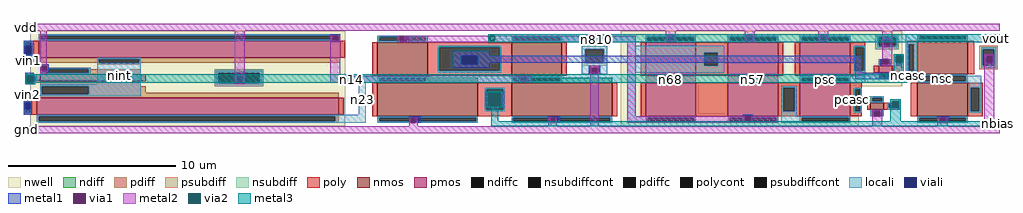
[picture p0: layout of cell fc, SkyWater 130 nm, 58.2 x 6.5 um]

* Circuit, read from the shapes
.subckt fc vin1 vin2 pbias vdd gnd nbias vout
XM1 n23 nbias gnd gnd sky130_fd_pr__nfet_01v8 w=6 l=2
XM2 vout ncasc n23 gnd sky130_fd_pr__nfet_01v8 w=3 l=2
XM3 n14 nbias gnd gnd sky130_fd_pr__nfet_01v8 w=6 l=2
XM4 n810 ncasc n14 gnd sky130_fd_pr__nfet_01v8 w=3 l=2
XM5 pcasc nbias gnd gnd sky130_fd_pr__nfet_01v8 w=0.8 l=0.4
XM6 nsc nsc gnd gnd sky130_fd_pr__nfet_01v8 w=3 l=2
XM7 ncasc ncasc nsc gnd sky130_fd_pr__nfet_01v8 w=3 l=2
XM8 nint vin2 n23 vdd sky130_fd_pr__pfet_01v8 w=18 l=1
XM9 n14 vin1 nint vdd sky130_fd_pr__pfet_01v8 w=18 l=1
XM10 vdd pbias nint vdd sky130_fd_pr__pfet_01v8 w=6 l=0.4
XM11 n68 pcasc n810 vdd sky130_fd_pr__pfet_01v8 w=3 l=2
XM12 vdd n810 n68 vdd sky130_fd_pr__pfet_01v8 w=3 l=2
XM13 n57 pcasc vout vdd sky130_fd_pr__pfet_01v8 w=3 l=2
XM14 vdd n810 n57 vdd sky130_fd_pr__pfet_01v8 w=3 l=2
XM15 psc pcasc pcasc vdd sky130_fd_pr__pfet_01v8 w=3 l=2
XM16 vdd psc psc vdd sky130_fd_pr__pfet_01v8 w=3 l=2
XM17 vdd pbias ncasc vdd sky130_fd_pr__pfet_01v8 w=0.8 l=0.4
.ends

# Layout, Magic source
magic
tech sky130A
<< nwell >>
rect 0 40 1880 610
rect 3520 280 5200 610
rect 3520 40 4940 280
<< nmos >>
rect 2070 340 2370 540
rect 2870 340 3170 540
rect 5290 350 5590 550
rect 2070 100 2670 300
rect 2870 100 3470 300
rect 5010 140 5090 180
rect 5290 100 5590 300
<< pmos >>
rect 50 450 1850 550
rect 60 310 660 350
rect 3670 340 3970 540
rect 4160 340 4460 540
rect 4590 340 4890 540
rect 5060 360 5140 400
rect 40 110 1840 210
rect 3670 100 3970 300
rect 4160 100 4460 300
rect 4590 100 4890 300
<< ndiff >>
rect 2070 570 2370 580
rect 2070 550 2080 570
rect 2360 550 2370 570
rect 2070 540 2370 550
rect 2870 570 3170 580
rect 2870 550 2880 570
rect 3160 550 3170 570
rect 2870 540 3170 550
rect 5290 580 5590 590
rect 5290 560 5300 580
rect 5580 560 5590 580
rect 5290 550 5590 560
rect 2070 330 2370 340
rect 2870 330 3170 340
rect 2070 310 2080 330
rect 2360 310 2670 330
rect 2070 300 2670 310
rect 2870 310 2880 330
rect 3160 310 3470 330
rect 2870 300 3470 310
rect 5290 340 5590 350
rect 5290 310 5300 340
rect 5580 310 5590 340
rect 5290 300 5590 310
rect 5010 210 5090 220
rect 5010 190 5020 210
rect 5080 190 5090 210
rect 5010 180 5090 190
rect 5010 130 5090 140
rect 5010 110 5020 130
rect 5080 110 5090 130
rect 5010 100 5090 110
rect 2070 90 2670 100
rect 2070 70 2080 90
rect 2660 70 2670 90
rect 2070 60 2670 70
rect 2870 90 3470 100
rect 2870 70 2880 90
rect 3460 70 3470 90
rect 2870 60 3470 70
rect 5290 90 5590 100
rect 5290 70 5300 90
rect 5580 70 5590 90
rect 5290 60 5590 70
<< pdiff >>
rect 50 580 1850 590
rect 50 560 60 580
rect 1840 560 1850 580
rect 50 550 1850 560
rect 3670 570 3970 580
rect 3670 550 3680 570
rect 3960 550 3970 570
rect 3670 540 3970 550
rect 4160 570 4460 580
rect 4160 550 4170 570
rect 4450 550 4460 570
rect 4160 540 4460 550
rect 4590 570 4890 580
rect 4590 550 4600 570
rect 4880 550 4890 570
rect 4590 540 4890 550
rect 50 440 1850 450
rect 50 420 410 440
rect 650 420 1850 440
rect 400 410 660 420
rect 60 380 360 390
rect 60 360 70 380
rect 350 360 660 380
rect 60 350 660 360
rect 60 280 660 310
rect 5060 430 5140 440
rect 5060 410 5070 430
rect 5130 410 5140 430
rect 5060 400 5140 410
rect 5060 350 5140 360
rect 3670 300 3970 340
rect 4160 300 4460 340
rect 4590 330 4890 340
rect 4590 310 4600 330
rect 4880 310 4890 330
rect 5060 330 5070 350
rect 5130 330 5140 350
rect 5060 320 5140 330
rect 4590 300 4890 310
rect 60 240 70 280
rect 40 230 70 240
rect 350 240 690 280
rect 350 230 1840 240
rect 40 210 1840 230
rect 40 100 1840 110
rect 40 70 50 100
rect 1820 70 1840 100
rect 40 60 1840 70
rect 3670 90 3970 100
rect 3670 70 3680 90
rect 3960 70 3970 90
rect 3670 60 3970 70
rect 4160 90 4460 100
rect 4160 70 4170 90
rect 4450 70 4460 90
rect 4160 60 4460 70
rect 4590 90 4890 100
rect 4590 70 4600 90
rect 4880 70 4890 90
rect 4590 60 4890 70
<< ndiffc >>
rect 2080 550 2360 570
rect 2880 550 3160 570
rect 5300 560 5580 580
rect 2080 310 2360 330
rect 2880 310 3160 330
rect 5300 310 5580 340
rect 5020 190 5080 210
rect 5020 110 5080 130
rect 2080 70 2660 90
rect 2880 70 3460 90
rect 5300 70 5580 90
<< pdiffc >>
rect 60 560 1840 580
rect 3680 550 3960 570
rect 4170 550 4450 570
rect 4600 550 4880 570
rect 410 420 650 440
rect 70 360 350 380
rect 5070 410 5130 430
rect 4600 310 4880 330
rect 5070 330 5130 350
rect 70 230 350 280
rect 50 70 1820 100
rect 3680 70 3960 90
rect 4170 70 4450 90
rect 4600 70 4880 90
<< psubdiff >>
rect 3290 500 3440 520
rect 3290 420 3310 500
rect 3420 420 3440 500
rect 3290 400 3440 420
rect 5660 500 5770 520
rect 5660 400 5680 500
rect 5750 400 5770 500
rect 5660 380 5770 400
<< nsubdiff >>
rect 5040 570 5180 590
rect 1100 360 1390 380
rect 1100 300 1120 360
rect 1370 300 1390 360
rect 5040 520 5060 570
rect 5160 520 5180 570
rect 5040 500 5180 520
rect 1100 280 1390 300
<< psubdiffcont >>
rect 3310 420 3420 500
rect 5680 400 5750 500
<< nsubdiffcont >>
rect 1120 300 1370 360
rect 5060 520 5160 570
<< poly >>
rect -40 540 50 550
rect -40 460 -30 540
rect 10 460 50 540
rect -40 450 50 460
rect 1850 450 1880 550
rect -30 340 60 350
rect -30 320 -20 340
rect 30 320 60 340
rect -30 310 60 320
rect 660 310 690 350
rect 2040 340 2070 540
rect 2370 510 2870 540
rect 2370 370 2440 510
rect 2800 370 2870 510
rect 2370 340 2870 370
rect 3170 340 3200 540
rect 3640 340 3670 540
rect 3970 480 4160 540
rect 3970 400 4020 480
rect 4100 400 4160 480
rect 3970 340 4160 400
rect 4460 340 4490 540
rect 4560 340 4590 540
rect 4890 510 4980 540
rect 4890 370 4920 510
rect 4970 370 4980 510
rect 5230 530 5290 550
rect 5160 460 5200 470
rect 5160 410 5170 460
rect 5190 410 5200 460
rect 5160 400 5200 410
rect 4890 340 4980 370
rect 5030 360 5060 400
rect 5140 360 5200 400
rect 5230 370 5240 530
rect 5270 370 5290 530
rect 5230 350 5290 370
rect 5590 350 5630 550
rect -40 200 40 210
rect -40 120 -30 200
rect 0 120 40 200
rect -40 110 40 120
rect 1840 110 1870 210
rect 2040 100 2070 300
rect 2670 260 2870 300
rect 2670 140 2720 260
rect 2820 140 2870 260
rect 2670 100 2870 140
rect 3470 100 3500 300
rect 3640 100 3670 300
rect 3970 100 4160 300
rect 4460 270 4590 300
rect 4460 130 4490 270
rect 4560 130 4590 270
rect 4460 100 4590 130
rect 4890 260 4960 300
rect 4890 130 4920 260
rect 4950 130 4960 260
rect 4990 140 5010 180
rect 5090 170 5190 180
rect 5090 150 5120 170
rect 5180 150 5190 170
rect 5090 140 5190 150
rect 4890 100 4960 130
rect 5250 100 5290 300
rect 5590 270 5680 300
rect 5590 130 5610 270
rect 5660 130 5680 270
rect 5590 100 5680 130
<< polycont >>
rect -30 460 10 540
rect -20 320 30 340
rect 2440 370 2800 510
rect 4020 400 4100 480
rect 4920 370 4970 510
rect 5170 410 5190 460
rect 5240 370 5270 530
rect -30 120 0 200
rect 2720 140 2820 260
rect 4490 130 4560 270
rect 4920 130 4950 260
rect 5120 150 5180 170
rect 5610 130 5660 270
<< locali >>
rect 50 580 1850 590
rect 5220 580 5590 590
rect 50 560 60 580
rect 1840 560 1850 580
rect 50 550 1850 560
rect 2070 570 2370 580
rect 2070 550 2080 570
rect 2360 550 2370 570
rect -40 540 20 550
rect 2070 540 2370 550
rect 2870 570 3610 580
rect 2870 550 2880 570
rect 3160 550 3610 570
rect 2870 540 3610 550
rect 3670 570 3970 580
rect 3670 550 3680 570
rect 3960 550 3970 570
rect 3670 540 3970 550
rect 4160 570 4460 580
rect 4160 550 4170 570
rect 4450 550 4460 570
rect 4160 540 4460 550
rect 4590 570 4890 580
rect 4590 550 4600 570
rect 4880 550 4890 570
rect 4590 540 4890 550
rect 5050 570 5170 580
rect -40 460 -30 540
rect 10 460 20 540
rect 3560 520 3610 540
rect 5050 520 5060 570
rect 5160 520 5170 570
rect -40 450 20 460
rect 2430 510 2810 520
rect 400 440 660 450
rect 400 420 410 440
rect 650 420 660 440
rect 60 400 110 410
rect 60 360 70 400
rect 100 390 110 400
rect 100 380 360 390
rect 350 360 360 380
rect 60 350 360 360
rect -30 340 40 350
rect -30 320 -20 340
rect 30 320 40 340
rect -30 310 40 320
rect 400 290 660 420
rect 2430 370 2440 510
rect 2800 370 2810 510
rect 1110 360 1380 370
rect 2430 360 2810 370
rect 3290 500 3440 520
rect 3290 420 3310 500
rect 3420 420 3440 500
rect 3290 390 3440 420
rect 3290 360 3340 390
rect 3390 360 3440 390
rect 1110 300 1120 360
rect 1370 300 1380 360
rect 3290 350 3440 360
rect 3560 480 4140 520
rect 3560 400 4020 480
rect 4100 400 4140 480
rect 3560 360 4140 400
rect 4910 510 4980 520
rect 5050 510 5170 520
rect 5220 560 5300 580
rect 5580 560 5590 580
rect 5220 550 5590 560
rect 5220 530 5290 550
rect 4910 370 4920 510
rect 4970 370 4980 510
rect 5160 460 5200 470
rect 5060 430 5140 440
rect 5060 410 5070 430
rect 5130 410 5140 430
rect 5060 400 5140 410
rect 5160 410 5170 460
rect 5190 410 5200 460
rect 5160 400 5200 410
rect 1110 290 1380 300
rect 1960 330 2380 340
rect 1960 310 2080 330
rect 2360 310 2380 330
rect 1960 300 2380 310
rect 2870 330 3170 340
rect 2870 310 2880 330
rect 3160 310 3170 330
rect 2870 300 3170 310
rect 60 280 660 290
rect 60 230 70 280
rect 350 230 660 280
rect 60 220 660 230
rect -40 200 10 210
rect -40 120 -30 200
rect 0 120 10 200
rect -40 110 10 120
rect 1960 110 2000 300
rect 2710 260 2830 270
rect 2710 140 2720 260
rect 2820 140 2830 260
rect 2710 130 2830 140
rect 40 100 2000 110
rect 3560 100 3610 360
rect 4910 340 4980 370
rect 5220 370 5240 530
rect 5270 370 5290 530
rect 5670 500 5760 510
rect 5670 400 5680 500
rect 5750 400 5760 500
rect 5670 390 5760 400
rect 5220 360 5270 370
rect 4590 330 4980 340
rect 4590 310 4600 330
rect 4880 310 4980 330
rect 5060 350 5270 360
rect 5060 330 5070 350
rect 5130 330 5270 350
rect 5060 320 5270 330
rect 5290 340 5590 350
rect 4590 300 4980 310
rect 5290 310 5300 340
rect 5580 310 5670 340
rect 5290 300 5670 310
rect 4480 270 4570 280
rect 5600 270 5670 300
rect 4480 130 4490 270
rect 4560 130 4570 270
rect 4480 100 4570 130
rect 4910 260 4960 270
rect 4910 130 4920 260
rect 4950 220 4960 260
rect 4950 210 5090 220
rect 4950 190 5020 210
rect 5080 190 5090 210
rect 4950 180 5090 190
rect 4950 130 4960 180
rect 5110 170 5190 180
rect 5110 150 5120 170
rect 5180 150 5190 170
rect 5110 140 5190 150
rect 4910 120 4960 130
rect 5010 130 5090 140
rect 5010 110 5020 130
rect 5080 110 5090 130
rect 5600 130 5610 270
rect 5660 130 5670 270
rect 5600 120 5670 130
rect 5010 100 5090 110
rect 40 70 50 100
rect 1820 70 2000 100
rect 40 60 2000 70
rect 2070 90 2670 100
rect 2070 70 2080 90
rect 2660 70 2670 90
rect 2070 60 2670 70
rect 2870 90 3470 100
rect 2870 70 2880 90
rect 3460 70 3470 90
rect 2870 60 3470 70
rect 3560 90 3970 100
rect 3560 70 3680 90
rect 3960 70 3970 90
rect 3560 60 3970 70
rect 4160 90 4460 100
rect 4160 70 4170 90
rect 4450 70 4460 90
rect 4160 60 4460 70
rect 4480 90 4890 100
rect 4480 70 4600 90
rect 4880 70 4890 90
rect 4480 60 4890 70
rect 5290 90 5590 100
rect 5290 70 5300 90
rect 5580 70 5590 90
rect 5290 60 5590 70
<< viali >>
rect 1800 560 1840 580
rect 2200 550 2250 570
rect 3800 550 3840 570
rect 4270 550 4310 570
rect 4710 550 4750 570
rect -30 470 10 520
rect 5090 520 5130 560
rect 70 380 100 400
rect 70 370 100 380
rect -20 320 10 340
rect 2570 410 2670 460
rect 3340 360 3390 390
rect 1230 300 1270 340
rect 5080 410 5120 430
rect 5170 420 5190 450
rect 2920 310 2960 330
rect -30 140 0 180
rect 2730 160 2810 240
rect 5700 420 5730 460
rect 5070 330 5130 350
rect 5140 150 5170 170
rect 5030 110 5070 130
rect 2270 70 2320 90
rect 3100 70 3150 90
rect 4260 70 4290 90
rect 5420 70 5470 90
<< metal1 >>
rect 1790 580 1850 590
rect 1790 550 1800 580
rect 1840 550 1850 580
rect -40 520 20 550
rect 1790 540 1850 550
rect 2190 550 2200 580
rect 2230 570 2260 580
rect 2250 550 2260 570
rect 2190 540 2260 550
rect 3790 550 3800 580
rect 3840 550 3850 580
rect 3790 540 3850 550
rect 4260 550 4270 580
rect 4310 550 4320 580
rect 4260 540 4320 550
rect 4700 550 4710 580
rect 4750 550 4760 580
rect 4700 540 4760 550
rect 5080 560 5140 570
rect -40 470 -30 520
rect 10 470 20 520
rect 5080 520 5090 560
rect 5130 520 5140 560
rect 5080 510 5140 520
rect -40 420 20 470
rect 2520 460 2740 490
rect 5690 460 5740 470
rect 2520 410 2570 460
rect 2670 420 4960 460
rect 5160 450 5200 460
rect 2670 410 2740 420
rect 60 400 110 410
rect 60 370 70 400
rect 100 370 110 400
rect 2520 390 2740 410
rect 3330 390 3400 400
rect 60 360 110 370
rect 3330 360 3340 390
rect 3390 360 3400 390
rect -30 340 20 360
rect 3330 350 3400 360
rect 4920 360 4960 420
rect 5070 410 5080 440
rect 5120 410 5130 440
rect 5160 420 5170 450
rect 5160 410 5200 420
rect 5690 420 5700 460
rect 5690 410 5740 420
rect 5070 400 5130 410
rect 4920 350 5140 360
rect -30 310 -20 340
rect 10 310 20 340
rect -30 300 20 310
rect 1220 340 1280 350
rect 1220 300 1230 340
rect 1270 300 1280 340
rect 2910 310 2920 340
rect 2960 310 2970 340
rect 4920 330 5070 350
rect 5130 330 5140 350
rect 4920 320 5140 330
rect 2910 300 2970 310
rect 1220 290 1280 300
rect 2720 240 2820 250
rect -40 180 10 240
rect -40 140 -30 180
rect 0 140 10 180
rect 2720 160 2730 240
rect 2810 160 2820 240
rect 2720 150 2820 160
rect 5130 150 5140 180
rect 5170 150 5180 180
rect 5130 140 5180 150
rect -40 110 10 140
rect 5020 130 5080 140
rect 4250 100 4310 110
rect 5020 100 5030 130
rect 5070 100 5080 130
rect 2260 90 2330 100
rect 2260 60 2270 90
rect 2320 70 2330 90
rect 2300 60 2330 70
rect 3090 90 3160 100
rect 3090 60 3100 90
rect 3150 70 3160 90
rect 3130 60 3160 70
rect 4250 70 4260 100
rect 4300 70 4310 100
rect 4250 60 4310 70
rect 5410 90 5480 100
rect 5410 60 5420 90
rect 5470 70 5480 90
rect 5460 60 5480 70
<< via1 >>
rect 1800 560 1840 580
rect 1800 550 1840 560
rect 2200 570 2230 580
rect 2200 550 2230 570
rect 3800 570 3840 580
rect 3800 550 3840 570
rect 4270 570 4310 580
rect 4270 550 4310 570
rect 4710 570 4750 580
rect 4710 550 4750 570
rect 5090 520 5130 560
rect 70 370 100 400
rect 3350 360 3380 390
rect 5080 430 5120 440
rect 5080 410 5120 430
rect 5170 420 5190 450
rect 5190 420 5200 450
rect 5700 420 5730 460
rect 5730 420 5740 460
rect -20 320 10 340
rect -20 310 10 320
rect 1230 300 1270 340
rect 2920 330 2960 340
rect 2920 310 2960 330
rect 2730 160 2810 240
rect 5140 170 5170 180
rect 5140 150 5170 170
rect 5030 110 5070 130
rect 5030 100 5070 110
rect 2270 70 2300 90
rect 2270 60 2300 70
rect 3100 70 3130 90
rect 3100 60 3130 70
rect 4260 90 4300 100
rect 4260 70 4290 90
rect 4290 70 4300 90
rect 5420 70 5460 90
rect 5420 60 5460 70
<< metal2 >>
rect -40 610 5780 650
rect 60 400 100 610
rect 60 370 70 400
rect 60 350 100 370
rect -30 340 20 350
rect 1220 340 1280 610
rect 3790 580 3850 610
rect -30 300 -20 340
rect 20 300 30 340
rect -20 290 30 300
rect 1220 300 1230 340
rect 1270 300 1280 340
rect 1790 550 1800 580
rect 1840 550 1850 580
rect 1790 340 1850 550
rect 2190 550 2200 580
rect 2230 550 2740 580
rect 2770 550 3610 580
rect 2190 540 3610 550
rect 3790 550 3800 580
rect 3840 550 3850 580
rect 4260 580 4320 610
rect 4260 550 4270 580
rect 4310 550 4320 580
rect 4700 580 4760 610
rect 4700 550 4710 580
rect 4750 550 4760 580
rect 3790 540 3850 550
rect 4700 540 4760 550
rect 5080 560 5140 610
rect 3340 390 3390 400
rect 3340 360 3350 390
rect 3380 360 3390 390
rect 1790 310 2920 340
rect 2960 310 2990 340
rect 1790 300 2990 310
rect 1220 290 1280 300
rect 2720 240 2820 250
rect 2720 160 2730 240
rect 2810 160 2820 240
rect 2720 150 2820 160
rect 2260 60 2270 90
rect 2300 60 2310 90
rect 2260 40 2310 60
rect 3090 60 3100 90
rect 3130 60 3140 90
rect 3090 40 3140 60
rect 3340 40 3390 360
rect 3560 100 3610 540
rect 5080 520 5090 560
rect 5130 520 5140 560
rect 5080 440 5140 520
rect 5120 410 5140 440
rect 5080 400 5140 410
rect 5160 460 5200 470
rect 5160 400 5200 420
rect 5690 460 5750 470
rect 5690 420 5700 460
rect 5740 420 5750 460
rect 5130 190 5190 200
rect 5130 150 5140 190
rect 5180 150 5190 190
rect 5130 140 5190 150
rect 5020 130 5080 140
rect 5020 100 5030 130
rect 5070 100 5080 130
rect 3560 70 4260 100
rect 4300 70 4460 100
rect 3560 60 4460 70
rect 5020 40 5080 100
rect 5410 60 5420 90
rect 5460 60 5470 90
rect 5410 40 5470 60
rect 5690 40 5750 420
rect -40 0 5780 40
<< via2 >>
rect -20 310 10 340
rect 10 310 20 340
rect -20 300 20 310
rect 2740 550 2770 580
rect 2730 160 2810 240
rect 5160 450 5200 460
rect 5160 420 5170 450
rect 5170 420 5200 450
rect 5140 180 5180 190
rect 5140 150 5170 180
rect 5170 150 5180 180
<< metal3 >>
rect 2730 580 5780 590
rect 2730 550 2740 580
rect 2770 550 5780 580
rect 2730 540 5780 550
rect 5150 460 5210 470
rect 5150 420 5160 460
rect 5200 420 5210 460
rect 5150 350 5210 420
rect -30 340 5230 350
rect -30 300 -20 340
rect 20 300 5230 340
rect -30 290 30 300
rect 2720 240 2820 250
rect 2720 160 2730 240
rect 2810 160 2820 240
rect 2720 150 2820 160
rect 5130 190 5190 200
rect 5130 150 5140 190
rect 5180 150 5190 190
rect 2750 70 2790 150
rect 5130 70 5190 150
rect 2750 40 5780 70
<< labels >>
rlabel metal1 -40 420 20 440 1 vin1
port 1 n
rlabel metal1 -40 220 10 240 1 vin2
port 2 n
rlabel metal1 -30 350 20 360 1 pbias
port 3 n
rlabel metal2 -40 610 -10 650 1 vdd
port 4 n
rlabel metal2 -40 0 -10 40 1 gnd
port 5 n
rlabel locali 400 320 660 370 1 nint
rlabel metal2 1880 300 1950 340 1 n14
rlabel locali 1960 160 2000 240 1 n23
rlabel locali 3290 540 3460 580 1 n810
rlabel pdiff 3670 300 3970 340 1 n68
rlabel pdiff 4160 300 4460 340 1 n57
rlabel pdiff 4590 300 4890 340 1 psc
rlabel poly 4890 100 4920 300 1 pcasc
rlabel ndiff 5290 300 5590 350 1 nsc
rlabel locali 5200 320 5270 360 1 ncasc
rlabel metal3 5760 40 5780 70 1 nbias
port 6 n
rlabel metal3 5750 540 5780 590 1 vout
port 7 n
<< end >>
